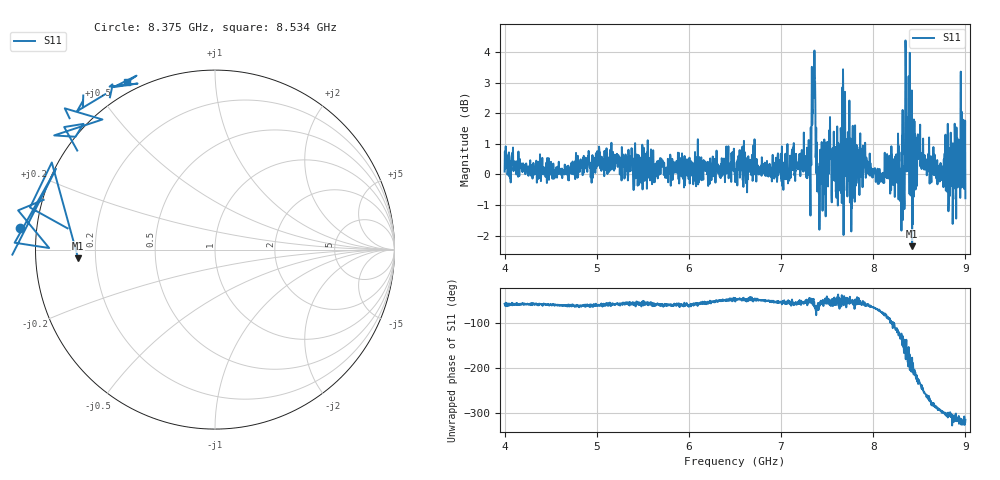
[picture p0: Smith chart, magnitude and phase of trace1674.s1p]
! Created with skrf 1.8.0 (http://scikit-rf.org).
# Hz S RI R 50.0
!freq ReS11 ImS11
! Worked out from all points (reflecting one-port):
!   1601 points, 4 GHz to 9 GHz, reference 50 ohm
!   lowest |S11| = -2.3 dB at 8.422 GHz (marker M1), VSWR 7.47, Z = 6.7 - j1.57 ohm
!   phase of S11 starts at -56 deg and turns -258 deg over the sweep
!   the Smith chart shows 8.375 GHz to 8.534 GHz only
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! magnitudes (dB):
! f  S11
! 4 GHz  0.1
! 4.625 GHz  -0.1
! 5.25 GHz  0.0
! 5.875 GHz  0.1
! 6.5 GHz  0.0
! 7.125 GHz  0.5
! 7.294 GHz  0.1
! 7.356 GHz  3.4
! 7.381 GHz  1.5
! 7.397 GHz  -0.2
! 7.409 GHz  -0.6
! 7.512 GHz  0.9
! 7.619 GHz  1.0
! 7.688 GHz  2.3
! 7.703 GHz  -0.1
! 7.75 GHz  0.0
! 7.784 GHz  -0.1
! 7.878 GHz  0.8
! 8.097 GHz  0.0
! 8.262 GHz  -0.3
! 8.316 GHz  0.6
! 8.334 GHz  -0.6
! 8.375 GHz  0.8
! 8.384 GHz  3.2
! 8.422 GHz  -2.3
! 8.841 GHz  1.4
! 8.956 GHz  -0.2
! 9 GHz  -0.8
